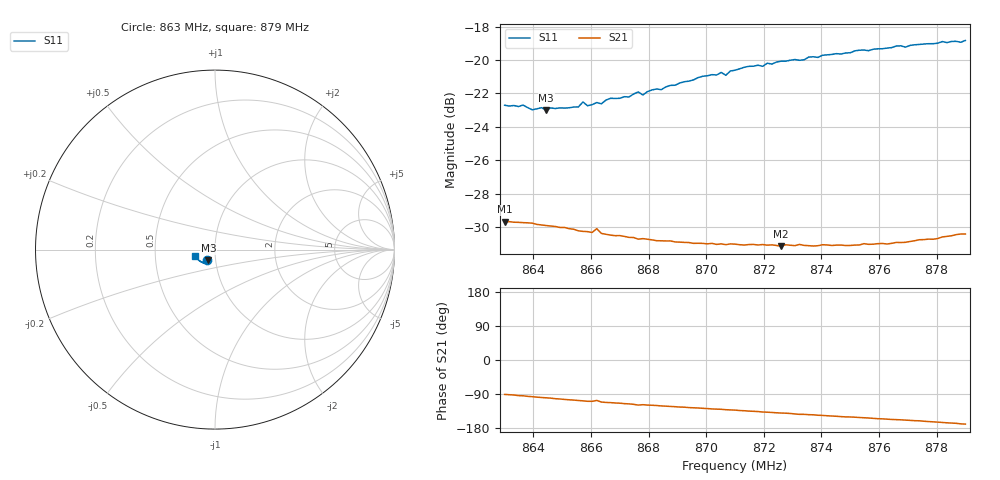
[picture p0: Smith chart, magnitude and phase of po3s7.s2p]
# HZ S RI R 50
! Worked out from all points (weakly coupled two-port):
!   101 points, 863 MHz to 879 MHz, reference 50 ohm
!   highest |S21| = -29.68 dB at 863 MHz (marker M1); lowest = -31.1 dB at 872.6 MHz (marker M2)
!   lowest |S11| = -23.0 dB at 864.44 MHz (marker M3), VSWR 1.15, Z = 46.1 - j5.62 ohm
!   |S11| at or under -10 dB: start of sweep to end of sweep
!   S12 and S22 are empty: the file has one direction only
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8.63e8  -0.0423 -0.0597  -0.000472 -0.0328  0 0  0 0
8.6364e8  -0.0406 -0.061  -0.00253 -0.0325  0 0  0 0
8.6396e8  -0.038 -0.0599  -0.00385 -0.0323  0 0  0 0
8.6428e8  -0.0379 -0.0612  -0.005 -0.0317  0 0  0 0
8.6444e8  -0.0367 -0.0606  -0.00543 -0.0315  0 0  0 0
8.6556e8  -0.0357 -0.0629  -0.00894 -0.0295  0 0  0 0
8.6572e8  -0.0371 -0.0651  -0.00936 -0.0292  0 0  0 0
8.6588e8  -0.0358 -0.0635  -0.00996 -0.029  0 0  0 0
8.6604e8  -0.0358 -0.0642  -0.00994 -0.0288  0 0  0 0
8.662e8  -0.0314 -0.0676  -0.00897 -0.03  0 0  0 0
8.6636e8  -0.0376 -0.0636  -0.0108 -0.0283  0 0  0 0
8.6668e8  -0.0378 -0.0668  -0.0115 -0.0276  0 0  0 0
8.678e8  -0.039 -0.0682  -0.0137 -0.0258  0 0  0 0
8.6844e8  -0.0415 -0.0701  -0.0149 -0.0246  0 0  0 0
8.6988e8  -0.049 -0.0747  -0.0172 -0.0224  0 0  0 0
8.7052e8  -0.053 -0.0749  -0.0181 -0.0216  0 0  0 0
8.7068e8  -0.0525 -0.073  -0.0184 -0.0211  0 0  0 0
8.71e8  -0.0565 -0.0741  -0.0189 -0.0208  0 0  0 0
8.726e8  -0.0671 -0.073  -0.0212 -0.0179  0 0  0 0
8.7372e8  -0.0739 -0.0706  -0.0226 -0.0161  0 0  0 0
8.7644e8  -0.0931 -0.0564  -0.026 -0.0111  0 0  0 0
8.79e8  -0.1091 -0.0342  -0.0296 -0.00568  0 0  0 0
